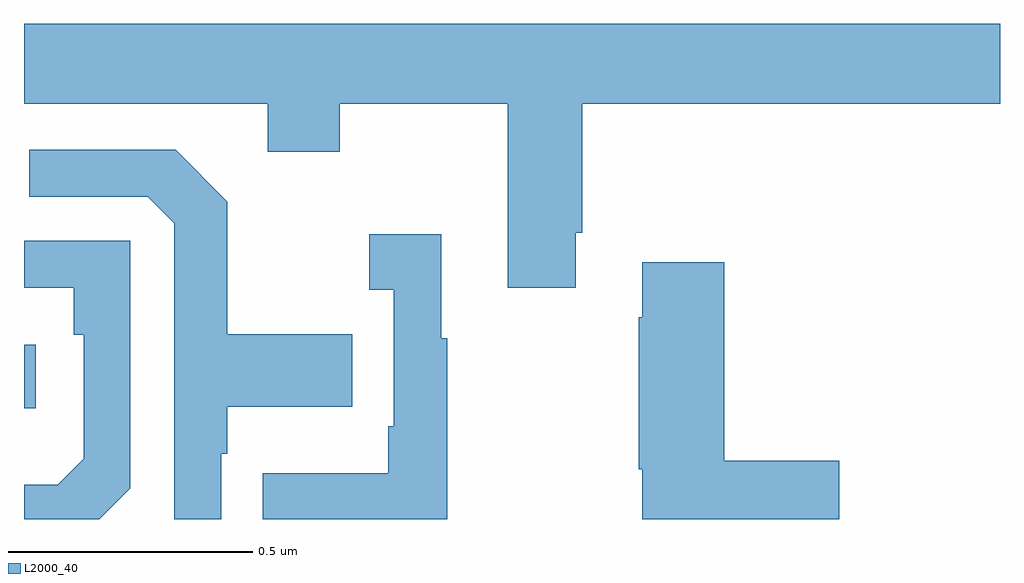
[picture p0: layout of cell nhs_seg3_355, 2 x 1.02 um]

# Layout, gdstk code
import gdstk
lib = gdstk.Library(unit=1e-6, precision=1e-09)
def R(c, l, rs):  # rectangles x0, y0, x1, y1
    for r in rs: c.add(gdstk.rectangle(r[:2], r[2:], *l))
def P(c, l, *ps):  # polygons
    for p in ps: c.add(gdstk.Polygon(p, *l))
L2000_40 = (2000, 40)

nhs_seg3_355 = lib.new_cell('nhs_seg3_355')
R(nhs_seg3_355, L2000_40, [(115,697.628,115.024,697.758)])
P(nhs_seg3_355, L2000_40, [(116.131,697.987),(116.144,697.987),(116.144,698.252),(117,698.252),(117,698.416),(115,698.416),(115,698.252),(115.499,698.252),(115.499,698.153),(115.647,698.153),(115.647,698.252),(115.991,698.252),(115.991,697.875),(116.131,697.875)],
  [(115.404,697.535),(115.417,697.535),(115.417,697.631),(115.673,697.631),(115.673,697.779),(115.417,697.779),(115.417,698.051),(115.311,698.157),(115.011,698.157),(115.011,698.061),(115.254,698.061),(115.308,698.007),(115.308,697.4),(115.404,697.4)],
  [(115.867,697.771),(115.855,697.771),(115.855,697.984),(115.707,697.984),(115.707,697.871),(115.758,697.871),(115.758,697.591),(115.746,697.591),(115.746,697.495),(115.489,697.495),(115.489,697.4),(115.867,697.4)],
  [(115.218,697.464),(115.218,697.971),(115,697.971),(115,697.875),(115.102,697.875),(115.102,697.778),(115.122,697.778),(115.122,697.524),(115.069,697.471),(115,697.471),(115,697.4),(115.154,697.4)],
  [(116.671,697.52),(116.435,697.52),(116.435,697.927),(116.267,697.927),(116.267,697.814),(116.26,697.814),(116.26,697.503),(116.267,697.503),(116.267,697.4),(116.671,697.4)])

lib.write_gds('nhs_seg3_355.gds')
